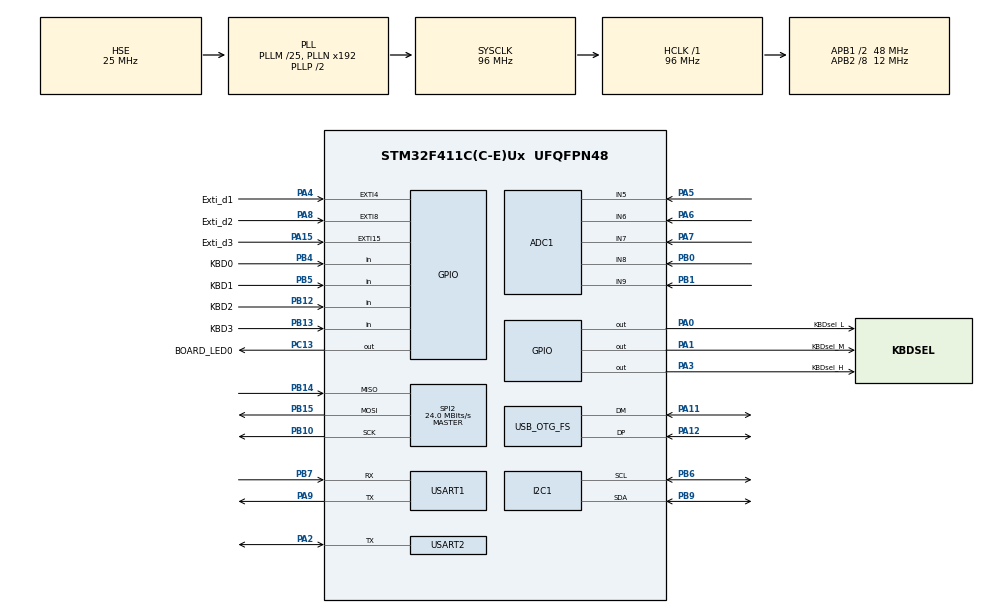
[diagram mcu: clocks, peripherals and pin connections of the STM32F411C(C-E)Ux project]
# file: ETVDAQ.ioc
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ADC1.Channel-0\#ChannelRegularConversion=ADC_CHANNEL_5
ADC1.Channel-1\#ChannelRegularConversion=ADC_CHANNEL_6
ADC1.Channel-2\#ChannelRegularConversion=ADC_CHANNEL_7
ADC1.Channel-3\#ChannelRegularConversion=ADC_CHANNEL_8
ADC1.Channel-4\#ChannelRegularConversion=ADC_CHANNEL_9
ADC1.Channel-5\#ChannelRegularConversion=ADC_CHANNEL_TEMPSENSOR
ADC1.ClockPrescaler=ADC_CLOCK_SYNC_PCLK_DIV8
ADC1.DiscontinuousConvMode=DISABLE
ADC1.EOCSelection=ADC_EOC_SEQ_CONV
ADC1.EnableAnalogWatchDog=false
ADC1.InjNumberOfConversion=0
ADC1.NbrOfConversion=6
ADC1.NbrOfConversionFlag=1
ADC1.Rank-0\#ChannelRegularConversion=1
ADC1.Rank-1\#ChannelRegularConversion=2
ADC1.Rank-2\#ChannelRegularConversion=3
ADC1.Rank-3\#ChannelRegularConversion=4
ADC1.Rank-4\#ChannelRegularConversion=5
ADC1.Rank-5\#ChannelRegularConversion=6
ADC1.SamplingTime-0\#ChannelRegularConversion=ADC_SAMPLETIME_480CYCLES
ADC1.SamplingTime-1\#ChannelRegularConversion=ADC_SAMPLETIME_480CYCLES
ADC1.SamplingTime-2\#ChannelRegularConversion=ADC_SAMPLETIME_480CYCLES
ADC1.SamplingTime-3\#ChannelRegularConversion=ADC_SAMPLETIME_480CYCLES
ADC1.SamplingTime-4\#ChannelRegularConversion=ADC_SAMPLETIME_480CYCLES
ADC1.SamplingTime-5\#ChannelRegularConversion=ADC_SAMPLETIME_480CYCLES
ADC1.master=1
Dma.ADC1.0.Direction=DMA_PERIPH_TO_MEMORY
Dma.ADC1.0.FIFOMode=DMA_FIFOMODE_DISABLE
Dma.ADC1.0.Instance=DMA2_Stream0
Dma.ADC1.0.MemDataAlignment=DMA_MDATAALIGN_WORD
Dma.ADC1.0.MemInc=DMA_MINC_ENABLE
Dma.ADC1.0.Mode=DMA_NORMAL
Dma.ADC1.0.PeriphDataAlignment=DMA_PDATAALIGN_WORD
Dma.ADC1.0.PeriphInc=DMA_PINC_DISABLE
Dma.ADC1.0.Priority=DMA_PRIORITY_LOW
Dma.Request0=ADC1
FREERTOS.Events01=EvtTrace,Dynamic,NULL;EvtTriggers,Dynamic,NULL;EvtSpare1,Dynamic,NULL;EvtSpare2,Dynamic,NULL
FREERTOS.INCLUDE_xEventGroupSetBitFromISR=0
FREERTOS.Mutexes01=mtxMeasCnt,Dynamic,NULL,Available
FREERTOS.Queues01=qTraceExec,200,uint32_t,0,Dynamic,NULL,NULL;qRadioTx,100,uint32_t,0,Dynamic,NULL,NULL;qRadioRx,100,uint32_t,0,Dynamic,NULL,NULL;qRadioFwd,100,uint32_t,0,Dynamic,NULL,NULL
FREERTOS.Tasks01=defaultTask,24,256,StartDefaultTask,Default,NULL,Dynamic,NULL,NULL;TaskBlinky,8,256,StartTaskBlinky,Default,NULL,Dynamic,NULL,NULL;TaskTrace,8,256,StartTaskTrace,Default,NULL,Dynamic,NULL,NULL;TaskDispecer,8,256,StartTaskDispecer,Default,NULL,Dynamic,NULL,NULL;TaskRadioComms,8,256,StartTaskRadioComms,Default,NULL,Dynamic,NULL,NULL;TaskWaitForTrigg,8,256,StartTaskWaitForTrigg,Default,NULL,Dynamic,NULL,NULL;d3,8,256,d3start,Default,NULL,Dynamic,NULL,NULL;d4,8,256,d4start,Default,NULL,Dynamic,NULL,NULL;d5,8,256,d5s,Default,NULL,Dynamic,NULL,NULL;d6,8,256,d6start,Default,NULL,Dynamic,NULL,NULL;TaskHwi2c,8,256,StartTaskHwi2c,Default,NULL,Dynamic,NULL,NULL;TaskHwSpi,8,256,StartTaskHwSpi,Default,NULL,Dynamic,NULL,NULL;TaskDigitalIn,8,256,StartTaskDigitalIn,Default,NULL,Dynamic,NULL,NULL;TaskAnalogIn,8,256,StartTaskAnalogIn,Default,NULL,Dynamic,NULL,NULL
FREERTOS.configCHECK_FOR_STACK_OVERFLOW=2
FREERTOS.configENABLE_BACKWARD_COMPATIBILITY=0
FREERTOS.configENABLE_FPU=1
FREERTOS.configGENERATE_RUN_TIME_STATS=1
FREERTOS.configMAX_TASK_NAME_LEN=56
FREERTOS.configMINIMAL_STACK_SIZE=256
FREERTOS.configQUEUE_REGISTRY_SIZE=16
FREERTOS.configRECORD_STACK_HIGH_ADDRESS=1
FREERTOS.configTOTAL_HEAP_SIZE=32000
FREERTOS.configUSE_APPLICATION_TASK_TAG=1
FREERTOS.configUSE_IDLE_HOOK=1
FREERTOS.configUSE_MALLOC_FAILED_HOOK=1
FREERTOS.configUSE_NEWLIB_REENTRANT=1
FREERTOS.configUSE_POSIX_ERRNO=1
FREERTOS.configUSE_STATS_FORMATTING_FUNCTIONS=1
FREERTOS.configUSE_TICK_HOOK=1
Mcu.Family=STM32F4
Mcu.Name=STM32F411C(C-E)Ux
Mcu.Package=UFQFPN48
Mcu.UserConstants=I2C_SENS,$$_I2C1_IP_HANDLE_$$;SPI_main,$$_SPI2_IP_HANDLE_$$;UART_radio,$$_USART1_IP_HANDLE_$$;UART_dbg,$$_USART2_IP_HANDLE_$$
NVIC.DMA2_Stream0_IRQn=true\:5\:0\:false\:false\:true\:true\:false\:true\:true
NVIC.EXTI4_IRQn=true\:5\:0\:false\:false\:true\:false\:true\:true\:true
NVIC.OTG_FS_IRQn=true\:5\:0\:false\:false\:true\:true\:false\:true\:true
NVIC.PriorityGroup=NVIC_PRIORITYGROUP_4
NVIC.TIM1_TRG_COM_TIM11_IRQn=true\:15\:0\:false\:false\:true\:false\:false\:true\:true
NVIC.TimeBase=TIM1_TRG_COM_TIM11_IRQn
NVIC.TimeBaseIP=TIM11
PA0-WKUP.GPIO_Label=KBDsel_L
PA0-WKUP.PinState=GPIO_PIN_SET
PA0-WKUP.Signal=GPIO_Output
PA1.GPIO_Label=KBDsel_M
PA1.PinState=GPIO_PIN_SET
PA1.Signal=GPIO_Output
PA11.Mode=Device_Only
PA11.Signal=USB_OTG_FS_DM
PA12.Mode=Device_Only
PA12.Signal=USB_OTG_FS_DP
PA13.Mode=Trace_Asynchronous_SW
PA13.Signal=SYS_JTMS-SWDIO
PA14.Mode=Trace_Asynchronous_SW
PA14.Signal=SYS_JTCK-SWCLK
PA15.GPIO_Label=Exti_d3
PA15.GPIO_PuPd=GPIO_PULLUP
PA15.Signal=GPXTI15
PA2.Mode=Half_duplex(single_wire_mode)
PA2.Signal=USART2_TX
PA3.GPIO_Label=KBDsel_H
PA3.PinState=GPIO_PIN_SET
PA3.Signal=GPIO_Output
PA4.GPIO_Label=Exti_d1
PA4.GPIO_ModeDefaultEXTI=GPIO_MODE_IT_RISING_FALLING
PA4.GPIO_PuPd=GPIO_PULLUP
PA4.Signal=GPXTI4
PA5.Signal=ADCx_IN5
PA6.Signal=ADCx_IN6
PA7.Signal=ADCx_IN7
PA8.GPIO_Label=Exti_d2
PA8.GPIO_PuPd=GPIO_PULLUP
PA8.Signal=GPXTI8
PA9.Mode=Asynchronous
PA9.Signal=USART1_TX
PB0.Signal=ADCx_IN8
PB1.Signal=ADCx_IN9
PB10.Mode=Full_Duplex_Master
PB10.Signal=SPI2_SCK
PB12.GPIO_Label=KBD2
PB12.GPIO_PuPd=GPIO_PULLUP
PB12.Signal=GPIO_Input
PB13.GPIO_Label=KBD3
PB13.GPIO_PuPd=GPIO_PULLUP
PB13.Signal=GPIO_Input
PB14.Mode=Full_Duplex_Master
PB14.Signal=SPI2_MISO
PB15.Mode=Full_Duplex_Master
PB15.Signal=SPI2_MOSI
PB3.Mode=Trace_Asynchronous_SW
PB3.Signal=SYS_JTDO-SWO
PB4.GPIO_Label=KBD0
PB4.GPIO_PuPd=GPIO_PULLUP
PB4.Signal=GPIO_Input
PB5.GPIO_Label=KBD1
PB5.GPIO_PuPd=GPIO_PULLUP
PB5.Signal=GPIO_Input
PB6.Mode=I2C
PB6.Signal=I2C1_SCL
PB7.Mode=Asynchronous
PB7.Signal=USART1_RX
PB9.Mode=I2C
PB9.Signal=I2C1_SDA
PC13-ANTI_TAMP.GPIO_Label=BOARD_LED0
PC13-ANTI_TAMP.Signal=GPIO_Output
PC14-OSC32_IN.Mode=LSE-External-Oscillator
PC14-OSC32_IN.Signal=RCC_OSC32_IN
PC15-OSC32_OUT.Mode=LSE-External-Oscillator
PC15-OSC32_OUT.Signal=RCC_OSC32_OUT
PH0\ -\ OSC_IN.Mode=HSE-External-Oscillator
PH0\ -\ OSC_IN.Signal=RCC_OSC_IN
PH1\ -\ OSC_OUT.Mode=HSE-External-Oscillator
PH1\ -\ OSC_OUT.Signal=RCC_OSC_OUT
ProjectManager.HeapSize=0x200
ProjectManager.StackSize=0x400
ProjectManager.TargetToolchain=CMake
RCC.48MHZClocksFreq_Value=48000000
RCC.AHBFreq_Value=96000000
RCC.APB1CLKDivider=RCC_HCLK_DIV2
RCC.APB1Freq_Value=48000000
RCC.APB1TimFreq_Value=96000000
RCC.APB2CLKDivider=RCC_HCLK_DIV8
RCC.APB2Freq_Value=12000000
RCC.APB2TimFreq_Value=24000000
RCC.CortexFreq_Value=96000000
RCC.EnbaleCSS=true
RCC.HCLKFreq_Value=96000000
RCC.HSE_VALUE=25000000
RCC.HSI_VALUE=16000000
RCC.PLLM=25
RCC.RCC_RTC_Clock_Source=RCC_RTCCLKSOURCE_LSE
RCC.RCC_RTC_Clock_SourceVirtual=RCC_RTCCLKSOURCE_LSE
RCC.SYSCLKFreq_VALUE=96000000
RCC.SYSCLKSource=RCC_SYSCLKSOURCE_PLLCLK
RCC.VCOOutputFreq_Value=192000000
SH.ADCx_IN5.0=ADC1_IN5,IN5
SH.ADCx_IN6.0=ADC1_IN6,IN6
SH.ADCx_IN7.0=ADC1_IN7,IN7
SH.ADCx_IN8.0=ADC1_IN8,IN8
SH.ADCx_IN9.0=ADC1_IN9,IN9
SPI2.CalculateBaudRate=24.0 MBits/s
SPI2.Direction=SPI_DIRECTION_2LINES
SPI2.Mode=SPI_MODE_MASTER
SPI2.VirtualType=VM_MASTER
USART1.VirtualMode=VM_ASYNC
USART2.VirtualMode=VM_ASYNC
USB_DEVICE.CLASS_NAME_FS=CDC
USB_DEVICE.MANUFACTURER_STRING=ZK
USB_DEVICE.PID_CDC_FS=430
USB_DEVICE.PRODUCT_STRING_CDC_FS=Specialized DACQ Trace Port
USB_DEVICE.VirtualMode=Cdc
USB_DEVICE.VirtualModeFS=Cdc_FS
USB_OTG_FS.VirtualMode=Device_Only
VP_ADC1_TempSens_Input.Mode=IN-TempSens
VP_CRC_VS_CRC.Mode=CRC_Activate
VP_FREERTOS_VS_CMSIS_V2.Mode=CMSIS_V2
VP_RTC_VS_RTC_Activate.Mode=RTC_Enabled
VP_RTC_VS_RTC_Calendar.Mode=RTC_Calendar
VP_SYS_VS_tim11.Mode=TIM11
VP_USB_DEVICE_VS_USB_DEVICE_CDC_FS.Mode=CDC_FS
board=custom

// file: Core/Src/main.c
/* USER CODE BEGIN Header */
/**
  ******************************************************************************
  * @file           : main.c
  * @brief          : Main program body
  ******************************************************************************
  * @attention
  *
  * Copyright (c) 2026 STMicroelectronics.
  * All rights reserved.
  *
  * This software is licensed under terms that can be found in the LICENSE file
  * in the root directory of this software component.
  * If no LICENSE file comes with this software, it is provided AS-IS.
  *
  ******************************************************************************
  */
/* USER CODE END Header */
#include "main.h"
#include "cmsis_os.h"
#include "usb_device.h"

/* USER CODE BEGIN Includes */
#include <sys/stat.h>
#include "usbd_cdc_if.h"
#include "BoardLed.h"
#include "Merenja.h"
#include "DAQ_Config.h"

/* USER CODE END Includes */

ADC_HandleTypeDef hadc1;
DMA_HandleTypeDef hdma_adc1;

CRC_HandleTypeDef hcrc;

I2C_HandleTypeDef hi2c1;

RTC_HandleTypeDef hrtc;

SPI_HandleTypeDef hspi2;

UART_HandleTypeDef huart1;
UART_HandleTypeDef huart2;

/* Definitions for defaultTask */
osThreadId_t defaultTaskHandle;
const osThreadAttr_t defaultTask_attributes = {
  .name = "defaultTask",
  .stack_size = 256 * 4,
  .priority = (osPriority_t) osPriorityNormal,
};
/* Definitions for TaskBlinky */
osThreadId_t TaskBlinkyHandle;
const osThreadAttr_t TaskBlinky_attributes = {
  .name = "TaskBlinky",
  .stack_size = 256 * 4,
  .priority = (osPriority_t) osPriorityLow,
};
/* Definitions for TaskTrace */
osThreadId_t TaskTraceHandle;
const osThreadAttr_t TaskTrace_attributes = {
  .name = "TaskTrace",
  .stack_size = 256 * 4,
  .priority = (osPriority_t) osPriorityLow,
};
/* Definitions for TaskDispecer */
osThreadId_t TaskDispecerHandle;
const osThreadAttr_t TaskDispecer_attributes = {
  .name = "TaskDispecer",
  .stack_size = 256 * 4,
  .priority = (osPriority_t) osPriorityLow,
};
/* Definitions for TaskRadioComms */
osThreadId_t TaskRadioCommsHandle;
const osThreadAttr_t TaskRadioComms_attributes = {
  .name = "TaskRadioComms",
  .stack_size = 256 * 4,
  .priority = (osPriority_t) osPriorityLow,
};
/* Definitions for TaskWaitForTrigg */
osThreadId_t TaskWaitForTriggHandle;
const osThreadAttr_t TaskWaitForTrigg_attributes = {
  .name = "TaskWaitForTrigg",
  .stack_size = 256 * 4,
  .priority = (osPriority_t) osPriorityLow,
};
/* Definitions for d3 */
osThreadId_t d3Handle;
const osThreadAttr_t d3_attributes = {
  .name = "d3",
  .stack_size = 256 * 4,
  .priority = (osPriority_t) osPriorityLow,
};
/* Definitions for d4 */
osThreadId_t d4Handle;
const osThreadAttr_t d4_attributes = {
  .name = "d4",
  .stack_size = 256 * 4,
  .priority = (osPriority_t) osPriorityLow,
};
/* Definitions for d5 */
osThreadId_t d5Handle;
const osThreadAttr_t d5_attributes = {
  .name = "d5",
  .stack_size = 256 * 4,
  .priority = (osPriority_t) osPriorityLow,
};
/* Definitions for d6 */
osThreadId_t d6Handle;
const osThreadAttr_t d6_attributes = {
  .name = "d6",
  .stack_size = 256 * 4,
  .priority = (osPriority_t) osPriorityLow,
};
/* Definitions for TaskHwi2c */
osThreadId_t TaskHwi2cHandle;
const osThreadAttr_t TaskHwi2c_attributes = {
  .name = "TaskHwi2c",
  .stack_size = 256 * 4,
  .priority = (osPriority_t) osPriorityLow,
};
/* Definitions for TaskHwSpi */
osThreadId_t TaskHwSpiHandle;
const osThreadAttr_t TaskHwSpi_attributes = {
  .name = "TaskHwSpi",
  .stack_size = 256 * 4,
  .priority = (osPriority_t) osPriorityLow,
};
/* Definitions for TaskDigitalIn */
osThreadId_t TaskDigitalInHandle;
const osThreadAttr_t TaskDigitalIn_attributes = {
  .name = "TaskDigitalIn",
  .stack_size = 256 * 4,
  .priority = (osPriority_t) osPriorityLow,
};
/* Definitions for TaskAnalogIn */
osThreadId_t TaskAnalogInHandle;
const osThreadAttr_t TaskAnalogIn_attributes = {
  .name = "TaskAnalogIn",
  .stack_size = 256 * 4,
  .priority = (osPriority_t) osPriorityLow,
};
/* Definitions for qTraceExec */
osMessageQueueId_t qTraceExecHandle;
const osMessageQueueAttr_t qTraceExec_attributes = {
  .name = "qTraceExec"
};
/* Definitions for qRadioTx */
osMessageQueueId_t qRadioTxHandle;
const osMessageQueueAttr_t qRadioTx_attributes = {
  .name = "qRadioTx"
};
/* Definitions for qRadioRx */
osMessageQueueId_t qRadioRxHandle;
const osMessageQueueAttr_t qRadioRx_attributes = {
  .name = "qRadioRx"
};
/* Definitions for qRadioFwd */
osMessageQueueId_t qRadioFwdHandle;
const osMessageQueueAttr_t qRadioFwd_attributes = {
  .name = "qRadioFwd"
};
/* Definitions for mtxMeasCnt */
osMutexId_t mtxMeasCntHandle;
const osMutexAttr_t mtxMeasCnt_attributes = {
  .name = "mtxMeasCnt"
};
/* Definitions for EvtTrace */
osEventFlagsId_t EvtTraceHandle;
const osEventFlagsAttr_t EvtTrace_attributes = {
  .name = "EvtTrace"
};
/* Definitions for EvtTriggers */
osEventFlagsId_t EvtTriggersHandle;
const osEventFlagsAttr_t EvtTriggers_attributes = {
  .name = "EvtTriggers"
};
/* Definitions for EvtSpare1 */
osEventFlagsId_t EvtSpare1Handle;
const osEventFlagsAttr_t EvtSpare1_attributes = {
  .name = "EvtSpare1"
};
/* Definitions for EvtSpare2 */
osEventFlagsId_t EvtSpare2Handle;
const osEventFlagsAttr_t EvtSpare2_attributes = {
  .name = "EvtSpare2"
};
/* USER CODE BEGIN PV */

constexpr uint32_t qmsgLen = 2048;		// maksimalna duzina moruke u msgQueue
constexpr uint32_t qWt = 10;			// wait za upis u queue
constexpr uint32_t trcWt = 100;			// timeout za uart i usb trace facility
constexpr uint32_t allMeasTmout = 2000;	// timeout da se zavrse sva merenja
uint32_t measCnt = 0;

// maksimalni flegovi
uint32_t flg_MAX = 0x7FFFFFFFU;
// ovi se salju dispeceru
#define flg_DIGITAL_IRQ					(1 << 0)	// EXTI callback: digitalni ulaz se promenio
#define flg_DIGITAL_REQUEST				(1 << 1)	// neki task zahteva ocitavanje digitalnih ulaza
#define flg_DIGITAL_PROCESSING_DONE		(1 << 2) 	// svi digitalni pinovi procitani i spremni za slanje
#define flg_DIGITAL_TRIGGERED			(1 << 3) 	// svi digitalni pinovi procitani i spremni za slanje

#define flg_ADC_CONV_CPLT_IRQ			(1 << 4)		// ADC IRQ callback: zavrsena adc konverzija u pozadini i DMA je obavio svoje
#define flg_ADC_REQUEST					(1 << 5)		// neki task zahteva adc konverziju
#define flg_ANALOG_PROCESSING_DONE		(1 << 6)		// zavrsena analogna merenja ali ni jedan threshold nije prekoracen
#define flg_ANALOG_TRIGGERED			(1 << 7)		// zavrsena analogna merenja i neka vrednost je prekoracena
#define evtflg_SPARE1_TRIGGER			(1 << 8)
#define evtflg_SPARE2_TRIGGER			(1 << 9)
#define evtflg_SPARE3_TRIGGER			(1 << 10)
#define evtflg_SPARE4_TRIGGER			(1 << 11)

/* USER CODE END PV */

void SystemClock_Config(void);
static void MX_GPIO_Init(void);
static void MX_DMA_Init(void);
static void MX_ADC1_Init(void);
static void MX_CRC_Init(void);
static void MX_I2C1_Init(void);
static void MX_RTC_Init(void);
static void MX_SPI2_Init(void);
static void MX_USART1_UART_Init(void);
static void MX_USART2_UART_Init(void);
void StartDefaultTask(void *argument);
void StartTaskBlinky(void *argument);
void StartTaskTrace(void *argument);
void StartTaskDispecer(void *argument);
void StartTaskRadioComms(void *argument);
void StartTaskWaitForTrigg(void *argument);
void d3start(void *argument);
void d4start(void *argument);
void d5s(void *argument);
void d6start(void *argument);
void StartTaskHwi2c(void *argument);
void StartTaskHwSpi(void *argument);
void StartTaskDigitalIn(void *argument);
void StartTaskAnalogIn(void *argument);

int main(void)
{

  /* MCU Configuration--------------------------------------------------------*/

  /* Reset of all peripherals, Initializes the Flash interface and the Systick. */
  HAL_Init();

  /* Configure the system clock */
  SystemClock_Config();

  /* Initialize all configured peripherals */
  MX_GPIO_Init();
  MX_DMA_Init();
  MX_ADC1_Init();
  MX_CRC_Init();
  MX_I2C1_Init();
  MX_RTC_Init();
  MX_SPI2_Init();
  MX_USART1_UART_Init();
  MX_USART2_UART_Init();

  /* Init scheduler */
  osKernelInitialize();
  /* Create the mutex(es) */
  /* creation of mtxMeasCnt */
  mtxMeasCntHandle = osMutexNew(&mtxMeasCnt_attributes);

  /* Create the queue(s) */
  /* creation of qTraceExec */
  qTraceExecHandle = osMessageQueueNew (200, sizeof(uint32_t), &qTraceExec_attributes);

  /* creation of qRadioTx */
  qRadioTxHandle = osMessageQueueNew (100, sizeof(uint32_t), &qRadioTx_attributes);

  /* creation of qRadioRx */
  qRadioRxHandle = osMessageQueueNew (100, sizeof(uint32_t), &qRadioRx_attributes);

  /* creation of qRadioFwd */
  qRadioFwdHandle = osMessageQueueNew (100, sizeof(uint32_t), &qRadioFwd_attributes);

  /* Create the thread(s) */
  /* creation of defaultTask */
  defaultTaskHandle = osThreadNew(StartDefaultTask, NULL, &defaultTask_attributes);

  /* creation of TaskBlinky */
  TaskBlinkyHandle = osThreadNew(StartTaskBlinky, NULL, &TaskBlinky_attributes);

  /* creation of TaskTrace */
  TaskTraceHandle = osThreadNew(StartTaskTrace, NULL, &TaskTrace_attributes);

  /* creation of TaskDispecer */
  TaskDispecerHandle = osThreadNew(StartTaskDispecer, NULL, &TaskDispecer_attributes);

  /* creation of TaskRadioComms */
  TaskRadioCommsHandle = osThreadNew(StartTaskRadioComms, NULL, &TaskRadioComms_attributes);

  /* creation of TaskWaitForTrigg */
  TaskWaitForTriggHandle = osThreadNew(StartTaskWaitForTrigg, NULL, &TaskWaitForTrigg_attributes);

  /* creation of d3 */
  d3Handle = osThreadNew(d3start, NULL, &d3_attributes);

  /* creation of d4 */
  d4Handle = osThreadNew(d4start, NULL, &d4_attributes);

  /* creation of d5 */
  d5Handle = osThreadNew(d5s, NULL, &d5_attributes);

  /* creation of d6 */
  d6Handle = osThreadNew(d6start, NULL, &d6_attributes);

  /* creation of TaskHwi2c */
  TaskHwi2cHandle = osThreadNew(StartTaskHwi2c, NULL, &TaskHwi2c_attributes);

  /* creation of TaskHwSpi */
  TaskHwSpiHandle = osThreadNew(StartTaskHwSpi, NULL, &TaskHwSpi_attributes);

  /* creation of TaskDigitalIn */
  TaskDigitalInHandle = osThreadNew(StartTaskDigitalIn, NULL, &TaskDigitalIn_attributes);

  /* creation of TaskAnalogIn */
  TaskAnalogInHandle = osThreadNew(StartTaskAnalogIn, NULL, &TaskAnalogIn_attributes);

  /* creation of EvtTrace */
  EvtTraceHandle = osEventFlagsNew(&EvtTrace_attributes);

  /* creation of EvtTriggers */
  EvtTriggersHandle = osEventFlagsNew(&EvtTriggers_attributes);

  /* creation of EvtSpare1 */
  EvtSpare1Handle = osEventFlagsNew(&EvtSpare1_attributes);

  /* creation of EvtSpare2 */
  EvtSpare2Handle = osEventFlagsNew(&EvtSpare2_attributes);

  /* Start scheduler */
  osKernelStart();

  /* We should never get here as control is now taken by the scheduler */

  /* Infinite loop */
	while (1) {

	}
}

void SystemClock_Config(void)
{
  RCC_OscInitTypeDef RCC_OscInitStruct = {0};
  RCC_ClkInitTypeDef RCC_ClkInitStruct = {0};

  /** Configure the main internal regulator output voltage
  */
  __HAL_RCC_PWR_CLK_ENABLE();
  __HAL_PWR_VOLTAGESCALING_CONFIG(PWR_REGULATOR_VOLTAGE_SCALE1);

  /** Initializes the RCC Oscillators according to the specified parameters
  * in the RCC_OscInitTypeDef structure.
  */
  RCC_OscInitStruct.OscillatorType = RCC_OSCILLATORTYPE_HSE|RCC_OSCILLATORTYPE_LSE;
  RCC_OscInitStruct.HSEState = RCC_HSE_ON;
  RCC_OscInitStruct.LSEState = RCC_LSE_ON;
  RCC_OscInitStruct.PLL.PLLState = RCC_PLL_ON;
  RCC_OscInitStruct.PLL.PLLSource = RCC_PLLSOURCE_HSE;
  RCC_OscInitStruct.PLL.PLLM = 25;
  RCC_OscInitStruct.PLL.PLLN = 192;
  RCC_OscInitStruct.PLL.PLLP = RCC_PLLP_DIV2;
  RCC_OscInitStruct.PLL.PLLQ = 4;
  if (HAL_RCC_OscConfig(&RCC_OscInitStruct) != HAL_OK)
  {
    Error_Handler();
  }

  /** Initializes the CPU, AHB and APB buses clocks
  */
  RCC_ClkInitStruct.ClockType = RCC_CLOCKTYPE_HCLK|RCC_CLOCKTYPE_SYSCLK
                              |RCC_CLOCKTYPE_PCLK1|RCC_CLOCKTYPE_PCLK2;
  RCC_ClkInitStruct.SYSCLKSource = RCC_SYSCLKSOURCE_PLLCLK;
  RCC_ClkInitStruct.AHBCLKDivider = RCC_SYSCLK_DIV1;
  RCC_ClkInitStruct.APB1CLKDivider = RCC_HCLK_DIV2;
  RCC_ClkInitStruct.APB2CLKDivider = RCC_HCLK_DIV8;

  if (HAL_RCC_ClockConfig(&RCC_ClkInitStruct, FLASH_LATENCY_3) != HAL_OK)
  {
    Error_Handler();
  }

  /** Enables the Clock Security System
  */
  HAL_RCC_EnableCSS();
}

static void MX_ADC1_Init(void)
{

  ADC_ChannelConfTypeDef sConfig = {0};

  /** Configure the global features of the ADC (Clock, Resolution, Data Alignment and number of conversion)
  */
  hadc1.Instance = ADC1;
  hadc1.Init.ClockPrescaler = ADC_CLOCK_SYNC_PCLK_DIV8;
  hadc1.Init.Resolution = ADC_RESOLUTION_12B;
  hadc1.Init.ScanConvMode = ENABLE;
  hadc1.Init.ContinuousConvMode = DISABLE;
  hadc1.Init.DiscontinuousConvMode = DISABLE;
  hadc1.Init.ExternalTrigConvEdge = ADC_EXTERNALTRIGCONVEDGE_NONE;
  hadc1.Init.ExternalTrigConv = ADC_SOFTWARE_START;
  hadc1.Init.DataAlign = ADC_DATAALIGN_RIGHT;
  hadc1.Init.NbrOfConversion = 6;
  hadc1.Init.DMAContinuousRequests = DISABLE;
  hadc1.Init.EOCSelection = ADC_EOC_SEQ_CONV;
  if (HAL_ADC_Init(&hadc1) != HAL_OK)
  {
    Error_Handler();
  }

  /** Configure for the selected ADC regular channel its corresponding rank in the sequencer and its sample time.
  */
  sConfig.Channel = ADC_CHANNEL_5;
  sConfig.Rank = 1;
  sConfig.SamplingTime = ADC_SAMPLETIME_480CYCLES;
  if (HAL_ADC_ConfigChannel(&hadc1, &sConfig) != HAL_OK)
  {
    Error_Handler();
  }

  /** Configure for the selected ADC regular channel its corresponding rank in the sequencer and its sample time.
  */
  sConfig.Channel = ADC_CHANNEL_6;
  sConfig.Rank = 2;
  if (HAL_ADC_ConfigChannel(&hadc1, &sConfig) != HAL_OK)
  {
    Error_Handler();
  }

  /** Configure for the selected ADC regular channel its corresponding rank in the sequencer and its sample time.
  */
  sConfig.Channel = ADC_CHANNEL_7;
  sConfig.Rank = 3;
  if (HAL_ADC_ConfigChannel(&hadc1, &sConfig) != HAL_OK)
  {
    Error_Handler();
  }

  /** Configure for the selected ADC regular channel its corresponding rank in the sequencer and its sample time.
  */
  sConfig.Channel = ADC_CHANNEL_8;
  sConfig.Rank = 4;
  if (HAL_ADC_ConfigChannel(&hadc1, &sConfig) != HAL_OK)
  {
    Error_Handler();
  }

  /** Configure for the selected ADC regular channel its corresponding rank in the sequencer and its sample time.
  */
  sConfig.Channel = ADC_CHANNEL_9;
  sConfig.Rank = 5;
  if (HAL_ADC_ConfigChannel(&hadc1, &sConfig) != HAL_OK)
  {
    Error_Handler();
  }

  /** Configure for the selected ADC regular channel its corresponding rank in the sequencer and its sample time.
  */
  sConfig.Channel = ADC_CHANNEL_TEMPSENSOR;
  sConfig.Rank = 6;
  if (HAL_ADC_ConfigChannel(&hadc1, &sConfig) != HAL_OK)
  {
    Error_Handler();
  }

}

static void MX_CRC_Init(void)
{

  hcrc.Instance = CRC;
  if (HAL_CRC_Init(&hcrc) != HAL_OK)
  {
    Error_Handler();
  }

}

static void MX_I2C1_Init(void)
{

  hi2c1.Instance = I2C1;
  hi2c1.Init.ClockSpeed = 100000;
  hi2c1.Init.DutyCycle = I2C_DUTYCYCLE_2;
  hi2c1.Init.OwnAddress1 = 0;
  hi2c1.Init.AddressingMode = I2C_ADDRESSINGMODE_7BIT;
  hi2c1.Init.DualAddressMode = I2C_DUALADDRESS_DISABLE;
  hi2c1.Init.OwnAddress2 = 0;
  hi2c1.Init.GeneralCallMode = I2C_GENERALCALL_DISABLE;
  hi2c1.Init.NoStretchMode = I2C_NOSTRETCH_DISABLE;
  if (HAL_I2C_Init(&hi2c1) != HAL_OK)
  {
    Error_Handler();
  }

}

static void MX_RTC_Init(void)
{

  RTC_TimeTypeDef sTime = {0};
  RTC_DateTypeDef sDate = {0};

  /** Initialize RTC Only
  */
  hrtc.Instance = RTC;
  hrtc.Init.HourFormat = RTC_HOURFORMAT_24;
  hrtc.Init.AsynchPrediv = 127;
  hrtc.Init.SynchPrediv = 255;
  hrtc.Init.OutPut = RTC_OUTPUT_DISABLE;
  hrtc.Init.OutPutPolarity = RTC_OUTPUT_POLARITY_HIGH;
  hrtc.Init.OutPutType = RTC_OUTPUT_TYPE_OPENDRAIN;
  if (HAL_RTC_Init(&hrtc) != HAL_OK)
  {
    Error_Handler();
  }

  /** Initialize RTC and set the Time and Date
  */
  sTime.Hours = 0x0;
  sTime.Minutes = 0x0;
  sTime.Seconds = 0x0;
  sTime.DayLightSaving = RTC_DAYLIGHTSAVING_NONE;
  sTime.StoreOperation = RTC_STOREOPERATION_RESET;
  if (HAL_RTC_SetTime(&hrtc, &sTime, RTC_FORMAT_BCD) != HAL_OK)
  {
    Error_Handler();
  }
  sDate.WeekDay = RTC_WEEKDAY_MONDAY;
  sDate.Month = RTC_MONTH_JANUARY;
  sDate.Date = 0x1;
  sDate.Year = 0x0;

  if (HAL_RTC_SetDate(&hrtc, &sDate, RTC_FORMAT_BCD) != HAL_OK)
  {
    Error_Handler();
  }

}

static void MX_SPI2_Init(void)
{

  /* SPI2 parameter configuration*/
  hspi2.Instance = SPI2;
  hspi2.Init.Mode = SPI_MODE_MASTER;
  hspi2.Init.Direction = SPI_DIRECTION_2LINES;
  hspi2.Init.DataSize = SPI_DATASIZE_8BIT;
  hspi2.Init.CLKPolarity = SPI_POLARITY_LOW;
  hspi2.Init.CLKPhase = SPI_PHASE_1EDGE;
  hspi2.Init.NSS = SPI_NSS_SOFT;
  hspi2.Init.BaudRatePrescaler = SPI_BAUDRATEPRESCALER_2;
  hspi2.Init.FirstBit = SPI_FIRSTBIT_MSB;
  hspi2.Init.TIMode = SPI_TIMODE_DISABLE;
  hspi2.Init.CRCCalculation = SPI_CRCCALCULATION_DISABLE;
  hspi2.Init.CRCPolynomial = 10;
  if (HAL_SPI_Init(&hspi2) != HAL_OK)
  {
    Error_Handler();
  }

}

static void MX_USART1_UART_Init(void)
{

  huart1.Instance = USART1;
  huart1.Init.BaudRate = 115200;
  huart1.Init.WordLength = UART_WORDLENGTH_8B;
  huart1.Init.StopBits = UART_STOPBITS_1;
  huart1.Init.Parity = UART_PARITY_NONE;
  huart1.Init.Mode = UART_MODE_TX_RX;
  huart1.Init.HwFlowCtl = UART_HWCONTROL_NONE;
  huart1.Init.OverSampling = UART_OVERSAMPLING_16;
  if (HAL_UART_Init(&huart1) != HAL_OK)
  {
    Error_Handler();
  }

}

static void MX_USART2_UART_Init(void)
{

  huart2.Instance = USART2;
  huart2.Init.BaudRate = 115200;
  huart2.Init.WordLength = UART_WORDLENGTH_8B;
  huart2.Init.StopBits = UART_STOPBITS_1;
  huart2.Init.Parity = UART_PARITY_NONE;
  huart2.Init.Mode = UART_MODE_TX_RX;
  huart2.Init.HwFlowCtl = UART_HWCONTROL_NONE;
  huart2.Init.OverSampling = UART_OVERSAMPLING_16;
  if (HAL_HalfDuplex_Init(&huart2) != HAL_OK)
  {
    Error_Handler();
  }

}

static void MX_DMA_Init(void)
{

  /* DMA controller clock enable */
  __HAL_RCC_DMA2_CLK_ENABLE();

  /* DMA interrupt init */
  /* DMA2_Stream0_IRQn interrupt configuration */
  HAL_NVIC_SetPriority(DMA2_Stream0_IRQn, 5, 0);
  HAL_NVIC_EnableIRQ(DMA2_Stream0_IRQn);

}

static void MX_GPIO_Init(void)
{
  GPIO_InitTypeDef GPIO_InitStruct = {0};

  /* GPIO Ports Clock Enable */
  __HAL_RCC_GPIOC_CLK_ENABLE();
  __HAL_RCC_GPIOH_CLK_ENABLE();
  __HAL_RCC_GPIOA_CLK_ENABLE();
  __HAL_RCC_GPIOB_CLK_ENABLE();

  /*Configure GPIO pin Output Level */
  HAL_GPIO_WritePin(BOARD_LED0_GPIO_Port, BOARD_LED0_Pin, GPIO_PIN_RESET);

  /*Configure GPIO pin Output Level */
  HAL_GPIO_WritePin(GPIOA, KBDsel_L_Pin|KBDsel_M_Pin|KBDsel_H_Pin, GPIO_PIN_SET);

  /*Configure GPIO pin : BOARD_LED0_Pin */
  GPIO_InitStruct.Pin = BOARD_LED0_Pin;
  GPIO_InitStruct.Mode = GPIO_MODE_OUTPUT_PP;
  GPIO_InitStruct.Pull = GPIO_NOPULL;
  GPIO_InitStruct.Speed = GPIO_SPEED_FREQ_LOW;
  HAL_GPIO_Init(BOARD_LED0_GPIO_Port, &GPIO_InitStruct);

  /*Configure GPIO pins : KBDsel_L_Pin KBDsel_M_Pin KBDsel_H_Pin */
  GPIO_InitStruct.Pin = KBDsel_L_Pin|KBDsel_M_Pin|KBDsel_H_Pin;
  GPIO_InitStruct.Mode = GPIO_MODE_OUTPUT_PP;
  GPIO_InitStruct.Pull = GPIO_NOPULL;
  GPIO_InitStruct.Speed = GPIO_SPEED_FREQ_LOW;
  HAL_GPIO_Init(GPIOA, &GPIO_InitStruct);

  /*Configure GPIO pin : Exti_d1_Pin */
  GPIO_InitStruct.Pin = Exti_d1_Pin;
  GPIO_InitStruct.Mode = GPIO_MODE_IT_RISING_FALLING;
  GPIO_InitStruct.Pull = GPIO_PULLUP;
  HAL_GPIO_Init(Exti_d1_GPIO_Port, &GPIO_InitStruct);

  /*Configure GPIO pins : KBD2_Pin KBD3_Pin KBD0_Pin KBD1_Pin */
  GPIO_InitStruct.Pin = KBD2_Pin|KBD3_Pin|KBD0_Pin|KBD1_Pin;
  GPIO_InitStruct.Mode = GPIO_MODE_INPUT;
  GPIO_InitStruct.Pull = GPIO_PULLUP;
  HAL_GPIO_Init(GPIOB, &GPIO_InitStruct);

  /*Configure GPIO pins : Exti_d2_Pin Exti_d3_Pin */
  GPIO_InitStruct.Pin = Exti_d2_Pin|Exti_d3_Pin;
  GPIO_InitStruct.Mode = GPIO_MODE_IT_RISING;
  GPIO_InitStruct.Pull = GPIO_PULLUP;
  HAL_GPIO_Init(GPIOA, &GPIO_InitStruct);

  /* EXTI interrupt init*/
  HAL_NVIC_SetPriority(EXTI4_IRQn, 5, 0);
  HAL_NVIC_EnableIRQ(EXTI4_IRQn);

}

/* USER CODE BEGIN 4 */

void HAL_GPIO_EXTI_Callback(uint16_t GPIO_Pin) {
	osThreadFlagsSet(TaskDispecerHandle, flg_DIGITAL_IRQ);
}

void HAL_ADC_ConvCpltCallback(ADC_HandleTypeDef *hadc) {
	osThreadFlagsSet(TaskDispecerHandle, flg_ADC_CONV_CPLT_IRQ);		// ADC merenje zavrseno u pozadini
}

/* USER CODE END 4 */

void StartDefaultTask(void *argument)
{
  /* init code for USB_DEVICE */
  MX_USB_DEVICE_Init();
  /* USER CODE BEGIN 5 */
	/* Infinite loop */
	for (;;) {
		osDelay(100);
	}
  /* USER CODE END 5 */
}

void StartTaskBlinky(void *argument)
{
  /* USER CODE BEGIN StartTaskBlinky */
  /* Infinite loop */
	for (;;) {
		uint32_t flg = osThreadFlagsWait(flg_MAX, osFlagsWaitAny, cfg_GetHw_HeartbeatPer());
		if (flg == osFlagsErrorTimeout) {
			ledBlur(150, 2, 2);
		} else {
			ledOnmS(10);
		}
		osDelay(1);
	}
  /* USER CODE END StartTaskBlinky */
}

void StartTaskTrace(void *argument)
{
  /* USER CODE BEGIN StartTaskTrace */
	char msg[qmsgLen];
	HAL_StatusTypeDef stat;
	uint32_t cdcTo;
  /* Infinite loop */
  for(;;) {
  	osMessageQueueGet(qTraceExecHandle, &msg, 0U, osWaitForever);
  	stat = HAL_UART_Transmit(&huart1, (uint8_t *)msg, sizeof(msg), trcWt);	// ako nije gotovo za 200mS batali tracing
  	if (stat != HAL_OK) {
  		// TODO kome signalizirati ako UART trejser ne radi!
  	}
  	cdcTo = 0;
  	while ( (cdcTo<trcWt) && ( CDC_Transmit_FS((uint8_t *)msg, sizeof(msg))==USBD_BUSY )
  		) {
  		osDelay(1);
  		cdcTo++;
  		if (cdcTo >= trcWt) {
  			// TODO kome signalizirati ako ni USB trejser ne radi!
  		}
  	}
    osDelay(1);
  	osThreadYield();
  }
  /* USER CODE END StartTaskTrace */
}

void StartTaskDispecer(void *argument) {
	/* USER CODE BEGIN StartTaskDispecer */
	/* Infinite loop */
	for (;;) {
		uint32_t rez = osThreadFlagsWait(flg_MAX, osFlagsWaitAny, osWaitForever);
		switch (rez) {
			case osFlagsErrorTimeout:
				// za sada nista
				break;

			default:
				// koliko god taskova ima
				osMutexAcquire(mtxMeasCntHandle, osWaitForever);
				measCnt++;
				osThreadFlagsSet(TaskDigitalInHandle, flg_DIGITAL_REQUEST);
				measCnt++;
				osThreadFlagsSet(TaskAnalogInHandle, flg_ADC_REQUEST);
				osDelay(2);		// dajem sansu da taskovi za merenja krenu
				osMutexRelease(mtxMeasCntHandle);
				break;
		}

		osDelay(1);
		osThreadYield();
	}
	/* USER CODE END StartTaskDispecer */
}

void StartTaskRadioComms(void *argument)
{
  /* USER CODE BEGIN StartTaskRadioComms */
	uint32_t rez = 0;
	constexpr char rad_txOn[] = "radio tx on";
	constexpr char rad_txOnIncplt[] = "radio tx will be done with incomplete measurements";
	constexpr char rad_txOff[] = "radio tx done";
	/* Infinite loop */
	for (;;) {
		// cekam da neko zada start
		rez = osEventFlagsWait(EvtTriggersHandle, flg_MAX, osFlagsNoClear | osFlagsWaitAny, allMeasTmout);
		// zatim cekam da sva merenja zavrse
		osMutexAcquire(mtxMeasCntHandle, osWaitForever);
		if (rez == osErrorTimeout) {
			// posalji sta imas, cak i ako se nisu svi senzori odazvali na vreme (mozda zbog kvara?)
			osMessageQueuePut(qTraceExecHandle, rad_txOnIncplt, 0U, qWt);
			osMessageQueuePut(qTraceExecHandle, rad_txOn, 0U, qWt);
			// TODO RADIO SEND pritom obavezno signaliziraj neku gresku
			osMessageQueuePut(qTraceExecHandle, rad_txOff, 0U, qWt);
		} else {
			osMessageQueuePut(qTraceExecHandle, rad_txOn, 0U, qWt);
			// TODO RADIO SEND
			osMessageQueuePut(qTraceExecHandle, rad_txOff, 0U, qWt);
		}
		osDelay(1);
		osThreadYield();
	}
  /* USER CODE END StartTaskRadioComms */
}

void StartTaskWaitForTrigg(void *argument)
{
  /* USER CODE BEGIN StartTaskWaitForTrigg */
	/* Infinite loop */
	for (;;) {
		// rezult = osEventFlagsWait(EvtMeasurementDoneHandle, 0x7fffFFFF, osFlagsWaitAny, osWaitForever);
		// if (rezult & 0x80000000U) {
		// 	// Handle Error (e.g., osFlagsErrorTimeout) TODO
		//
		// } else {
		// 	// Use the result safely
		// 	uint32_t cleanFlags = rezult & 0x7FFFFFFFU;
		// }
		osDelay(10);
	}
  /* USER CODE END StartTaskWaitForTrigg */
}

void d3start(void *argument)
{
	for (;;) {
		osDelay(1);
	}
}

void d4start(void *argument)
{
	for (;;) {
		osDelay(1);
	}
}

void d5s(void *argument)
{
	for (;;) {
		osDelay(1);
	}
}

void d6start(void *argument)
{
	for (;;) {
		osDelay(1);
	}
}

void StartTaskHwi2c(void *argument)
{
  for(;;)
  {
    osDelay(1);
  }
}

void StartTaskHwSpi(void *argument)
{
  for(;;)
  {
    osDelay(1);
  }
}

void StartTaskDigitalIn(void *argument)
{
  /* USER CODE BEGIN StartTaskDigitalIn */
	// ovde se dolazi iz HAL_GPIO_EXTI_Callback
	// irq callback salje broj pina kao thread flag
	uint32_t extPinovi = 0;
	uint32_t prethodniPinovi = 0;
	constexpr char dig_trig[] = "digital triggered";
	constexpr char dig_complete[] = "digital completed";
  /* Infinite loop */
	for (;;) {
		uint32_t rez = osThreadFlagsWait(flg_MAX, osFlagsWaitAny, osWaitForever);
		switch (rez) {
			case osFlagsErrorTimeout:
				// ni jedan digitalni ulaz se nije promenio. ne radim nista
				break;

				default:
				// bilo koji flag -> primio sam EXTI sa nekog digitalnog pina ili je trazeno merenje zbog promene na ANALOGNOM delu
				// procitam vrednosti i posaljem u measurement set
				extPinovi = HAL_GPIO_ReadPin(Exti_d1_GPIO_Port, Exti_d1_Pin);
				extPinovi &= HAL_GPIO_ReadPin(Exti_d2_GPIO_Port, Exti_d2_Pin);
				extPinovi &= HAL_GPIO_ReadPin(Exti_d3_GPIO_Port, Exti_d3_Pin);
				prethodniPinovi = getDigitalResult();
				if (prethodniPinovi == extPinovi) {
					osEventFlagsClear(EvtTriggersHandle, flg_DIGITAL_TRIGGERED);
				} else {
					setDigitalResult(extPinovi);
					osEventFlagsSet(EvtTriggersHandle, flg_DIGITAL_TRIGGERED);
					osMessageQueuePut(qTraceExecHandle, (uint8_t *)dig_trig, 0U, qWt);
				}
				osMessageQueuePut(qTraceExecHandle, (uint8_t *)dig_complete, 0U, qWt);
				osEventFlagsSet(EvtTriggersHandle, flg_DIGITAL_PROCESSING_DONE);				// signaliziram zavrsetak
				osMutexAcquire(mtxMeasCntHandle, osWaitForever);
				measCnt--;
				osMutexRelease(mtxMeasCntHandle);

				break;
		}
		osDelay(1);
		osThreadYield();
	}
  /* USER CODE END StartTaskDigitalIn */
}

void StartTaskAnalogIn(void *argument)
{
  /* USER CODE BEGIN StartTaskAnalogIn */
	uint32_t AD_REZULT[hadc1.Init.NbrOfConversion];
	constexpr char adc_trig[] = "analog triggered";
	constexpr char adc_complete[] = "analog completed";
	/* Infinite loop */
	for (;;) {

		uint32_t flg = osThreadFlagsWait(flg_MAX, osFlagsWaitAny, ADC_REPETITION_PERIOD_mS);
		// analogno merenje svakih ADC_REPETITION_PERIOD_mS, ili ako pre vremena dobijem fleg zbog nekog drugog trigera
		switch (flg) {
			case osFlagsErrorTimeout:
			case flg_ADC_REQUEST:
				// ako istekne ADC_REPETITION_PERIOD_mS ili neki drugi task zatrazi merenje
				HAL_ADC_Start_DMA(&hadc1, AD_REZULT, hadc1.Init.NbrOfConversion);	// posle ovoga cekam DMA da zavrsi
				break;

			case flg_ADC_CONV_CPLT_IRQ:
				// ADC_DMA transfer je zavrsen
				bool desioSeTrig = false;		// FREEZE: ovde setujem varijablu a tek na kraju SAMO JEDNOM SETUJEM thread flag
				for (int i = 0; i < hadc1.Init.NbrOfConversion; i++) {
					setAnalogResult(i, AD_REZULT[i]);

					// THRESHOLD > 0: alarmiram prekoracenje IZNAD
					if (AD_THRESHOLD__DEBUG >= 0) {
						if (AD_REZULT[i] > (AD_THRESHOLD__DEBUG)) {
							desioSeTrig = true;		// preko thresholda
						} else if (AD_REZULT[i] <= (AD_THRESHOLD__DEBUG - AD_HYSTERSIS__DEBUG)) {
							desioSeTrig = false;	// ispod threshold-hyst
						}
					}

					// THRESHOLD < 0: alarmiram prekoracenje ISPOD
					if (AD_THRESHOLD__DEBUG < 0) {
						if (AD_REZULT[i] < (AD_THRESHOLD__DEBUG)) {
							desioSeTrig = true;		// preko thresholda
						} else if (AD_REZULT[i] >= (AD_THRESHOLD__DEBUG + AD_HYSTERSIS__DEBUG)) {
							desioSeTrig = false;	// ispod threshold-hyst
						}
					}
				}

				if (desioSeTrig) {
					// ostavi poruku i signaliziraj trigger
					osMessageQueuePut(qTraceExecHandle, (uint8_t *)adc_trig, 0U, qWt);
					osEventFlagsSet(EvtTriggersHandle, flg_ANALOG_TRIGGERED);
				} else {
					// nije bio trigger
					osEventFlagsClear(EvtTriggersHandle, flg_ANALOG_TRIGGERED);
				}
				// konacno signaliziraj zavrseno merenje
				osMessageQueuePut(qTraceExecHandle, (uint8_t *)adc_complete, 0U, qWt);
				osEventFlagsSet(EvtTriggersHandle, flg_ANALOG_PROCESSING_DONE);
				osMutexAcquire(mtxMeasCntHandle, osWaitForever);
				measCnt--;
				osMutexRelease(mtxMeasCntHandle);
				break;

			default:
				// TODO sta ovde? nista?
				break;
		}
		osDelay(1);
		osThreadYield();
	}
  /* USER CODE END StartTaskAnalogIn */
}

void HAL_TIM_PeriodElapsedCallback(TIM_HandleTypeDef *htim)
{
  if (htim->Instance == TIM11)
  {
    HAL_IncTick();
  }
}

void Error_Handler(void)
{
  /* USER CODE BEGIN Error_Handler_Debug */
	/* User can add his own implementation to report the HAL error return state */
	__disable_irq();
	osMessageQueuePut(qTraceExecHandle, (uint8_t *)"e jbga, HAL_ERROR! System halted.", 0U, qWt);
	while (1) {
	}
  /* USER CODE END Error_Handler_Debug */
}

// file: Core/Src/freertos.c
/* USER CODE BEGIN Header */
/**
  ******************************************************************************
  * File Name          : freertos.c
  * Description        : Code for freertos applications
  ******************************************************************************
  * @attention
  *
  * Copyright (c) 2026 STMicroelectronics.
  * All rights reserved.
  *
  * This software is licensed under terms that can be found in the LICENSE file
  * in the root directory of this software component.
  * If no LICENSE file comes with this software, it is provided AS-IS.
  *
  ******************************************************************************
  */
/* USER CODE END Header */

#include "FreeRTOS.h"
#include "task.h"
#include "main.h"

/* Hook prototypes */
void configureTimerForRunTimeStats(void);
unsigned long getRunTimeCounterValue(void);
void vApplicationIdleHook(void);
void vApplicationTickHook(void);
void vApplicationStackOverflowHook(TaskHandle_t xTask, signed char *pcTaskName);
void vApplicationMallocFailedHook(void);

/* USER CODE BEGIN 1 */
/* Functions needed when configGENERATE_RUN_TIME_STATS is on */
__weak void configureTimerForRunTimeStats(void)
{

}

__weak unsigned long getRunTimeCounterValue(void)
{
return 0;
}
/* USER CODE END 1 */

/* USER CODE BEGIN 2 */
void vApplicationIdleHook( void )
{
   /* vApplicationIdleHook() will only be called if configUSE_IDLE_HOOK is set
   to 1 in FreeRTOSConfig.h. It will be called on each iteration of the idle
   task. It is essential that code added to this hook function never attempts
   to block in any way (for example, call xQueueReceive() with a block time
   specified, or call vTaskDelay()). If the application makes use of the
   vTaskDelete() API function (as this demo application does) then it is also
   important that vApplicationIdleHook() is permitted to return to its calling
   function, because it is the responsibility of the idle task to clean up
   memory allocated by the kernel to any task that has since been deleted. */
}
/* USER CODE END 2 */

/* USER CODE BEGIN 3 */
void vApplicationTickHook( void )
{
   /* This function will be called by each tick interrupt if
   configUSE_TICK_HOOK is set to 1 in FreeRTOSConfig.h. User code can be
   added here, but the tick hook is called from an interrupt context, so
   code must not attempt to block, and only the interrupt safe FreeRTOS API
   functions can be used (those that end in FromISR()). */
}
/* USER CODE END 3 */

/* USER CODE BEGIN 4 */
void vApplicationStackOverflowHook(TaskHandle_t xTask, signed char *pcTaskName)
{
   /* Run time stack overflow checking is performed if
   configCHECK_FOR_STACK_OVERFLOW is defined to 1 or 2. This hook function is
   called if a stack overflow is detected. */
}
/* USER CODE END 4 */

/* USER CODE BEGIN 5 */
void vApplicationMallocFailedHook(void)
{
   /* vApplicationMallocFailedHook() will only be called if
   configUSE_MALLOC_FAILED_HOOK is set to 1 in FreeRTOSConfig.h. It is a hook
   function that will get called if a call to pvPortMalloc() fails.
   pvPortMalloc() is called internally by the kernel whenever a task, queue,
   timer or semaphore is created. It is also called by various parts of the
   demo application. If heap_1.c or heap_2.c are used, then the size of the
   heap available to pvPortMalloc() is defined by configTOTAL_HEAP_SIZE in
   FreeRTOSConfig.h, and the xPortGetFreeHeapSize() API function can be used
   to query the size of free heap space that remains (although it does not
   provide information on how the remaining heap might be fragmented). */
}
/* USER CODE END 5 */
